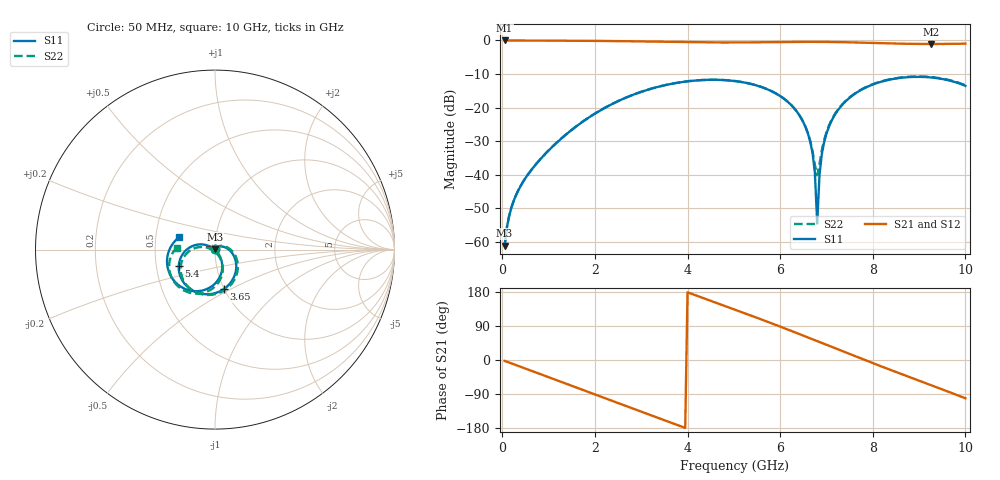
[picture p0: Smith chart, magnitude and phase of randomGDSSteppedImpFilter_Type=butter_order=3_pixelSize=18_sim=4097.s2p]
! freq	dB(S11)	phase(S11)	dB(S12)	phase(S12)
!  dB(S21)	phase(S21)	dB(S22)	phase(S22)
!S-par simulation data
#  GHz  S  DB  R 50
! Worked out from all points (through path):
!   200 points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, 50 MHz to 10 GHz, reference 50 ohm
!   highest |S21| = 0.00 dB at 50 MHz (marker M1); lowest = -1.1 dB at 9.25 GHz (marker M2)
!   group delay of S21, straight-line fit = 128 ps
!   lowest |S11| = -61.1 dB at 50 MHz (marker M3), VSWR 1.00, Z = 50 + j0.0747 ohm
!   |S11| at or under -10 dB: start of sweep to end of sweep
!   |S22| runs from -61.3 to -10.7 dB; largest |S21 - S12| = 0
!   S11 on the Smith chart (normalised r, x): 50 MHz: 1.00, +0.00; 3.65 GHz: 1.00, -0.46; 5.4 GHz: 0.65, -0.13; 10 GHz: 0.66, +0.10
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0.05  -61.07 57.5  -0.00 -2.3  -0.00 -2.3  -61.26 57.6
0.2  -49.61 73.6  -0.02 -9.1  -0.02 -9.1  -49.62 75.1
0.45  -42.07 67.0  -0.03 -20.4  -0.03 -20.4  -42.05 70.3
1.75  -24.06 9.0  -0.10 -79.4  -0.10 -79.4  -24.02 14.6
2.5  -18.08 -25.4  -0.20 -113.6  -0.20 -113.6  -18.05 -20.2
3.4  -13.69 -66.3  -0.39 -154.5  -0.39 -154.5  -13.67 -61.3
3.65  -12.93 -77.5  -0.44 -165.7  -0.44 -165.7  -12.91 -72.5
4.35  -11.77 -108.6  -0.58 163.0  -0.58 163.0  -11.76 -103.4
5.05  -12.14 -139.6  -0.60 131.8  -0.60 131.8  -12.13 -134.0
5.4  -13.05 -155.3  -0.57 115.9  -0.57 115.9  -13.04 -149.2
6.3  -20.15 163.3  -0.44 73.9  -0.44 73.9  -20.14 172.8
6.55  -25.86 151.9  -0.42 61.9  -0.42 61.9  -25.80 166.3
6.7  -33.60 146.5  -0.42 54.6  -0.42 54.6  -33.00 174.3
6.75  -39.39 147.3  -0.42 52.2  -0.42 52.2  -37.11 -169.0
6.8  -54.51 -160.2  -0.42 49.8  -0.42 49.8  -40.14 -124.3
6.85  -40.01 -50.5  -0.42 47.3  -0.42 47.3  -36.77 -80.9
6.9  -33.85 -49.6  -0.43 44.9  -0.43 44.9  -32.66 -65.8
7.1  -24.20 -57.3  -0.46 35.1  -0.46 35.1  -23.95 -59.5
7.6  -16.00 -81.1  -0.59 10.8  -0.59 10.8  -15.90 -77.9
8.35  -11.71 -117.0  -0.88 -24.6  -0.88 -24.6  -11.62 -110.9
9.25  -11.01 -160.0  -1.05 -65.9  -1.05 -65.9  -10.90 -150.1
10  -13.51 161.0  -0.96 -101.1  -0.96 -101.1  -13.38 177.5
